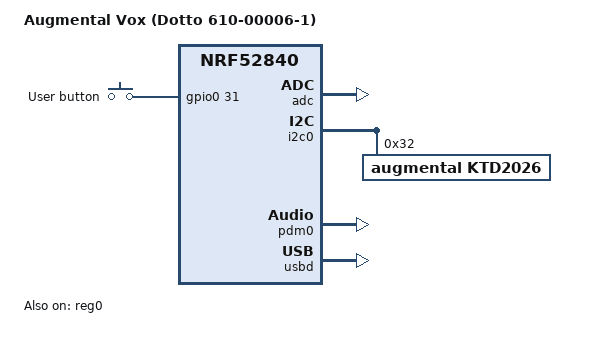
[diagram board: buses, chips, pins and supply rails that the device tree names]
/*
 * Augmental Vox — Dotto 610-00006-1 (version 9903), nRF52840.
 * Pin map per mouthpadv1 config_vox_dotto_610_6_1. Bring-up target: flashed flat
 * over J-Link (no product bootloader yet). Only the RGB LED driver (KTD2026 over
 * I2C) is wired up so far; the other Dotto peripherals (IMU, touch, barometer,
 * PDM mic, haptic, battery ADC) are documented below but not yet enabled.
 *
 * SPDX-License-Identifier: Apache-2.0
 */

/dts-v1/;
#include <nordic/nrf52840_qiaa.dtsi>
#include <nordic/nrf52840_partition.dtsi>
#include "vox_dotto_nrf52840-pinctrl.dtsi"
#include <zephyr/dt-bindings/input/input-event-codes.h>

/ {
	model = "Augmental Vox (Dotto 610-00006-1)";
	compatible = "augmental,vox-dotto";

	chosen {
		zephyr,sram = &sram0;
		zephyr,flash = &flash0;
		zephyr,code-partition = &slot0_partition;
	};

	buttons {
		compatible = "gpio-keys";

		/* Dotto button_1: P0.31, ACTIVE_HIGH */
		button0: button_0 {
			gpios = <&gpio0 31 GPIO_ACTIVE_HIGH>;
			label = "User button";
			zephyr,code = <INPUT_KEY_0>;
		};
	};

	aliases {
		sw0 = &button0;
		watchdog0 = &wdt0;
	};
};

&reg0 {
	status = "okay";
};

&reg1 {
	regulator-initial-mode = <NRF5X_REG_MODE_DCDC>;
};

&gpiote {
	status = "okay";
};

&gpio0 {
	status = "okay";
};

&gpio1 {
	status = "okay";
};

&adc {
	status = "okay";
};

/* KTD2026 RGB LED driver: SCL P0.8 / SDA P0.6.
 * The address the driver uses comes from CONFIG_KTD2026_I2C_ADDR: 0x32 for the
 * production Dotto part (default), 0x30 for the KTD2026 dev kit (build with
 * -DEXTRA_CONF_FILE=dev_kit.conf). The reg here is just the binding default.
 * Dotto channel map: red = CH3, green = CH2, blue = CH1. */
&i2c0 {
	compatible = "nordic,nrf-twi";
	status = "okay";
	pinctrl-0 = <&i2c0_default>;
	pinctrl-1 = <&i2c0_sleep>;
	pinctrl-names = "default", "sleep";

	ktd2026: ktd2026@32 {
		compatible = "augmental,ktd2026";
		reg = <0x32>;
	};
};

/* PDM microphone (Dotto): CLK P0.05 / DIN P0.26. Driven via the Zephyr DMIC
 * API (nrfx PDM) for the relay's own mic stream. */
&pdm0 {
	status = "okay";
	pinctrl-0 = <&pdm0_default>;
	pinctrl-names = "default";
	clock-source = "PCLK32M_HFXO";
};

zephyr_udc0: &usbd {
	compatible = "nordic,nrf-usbd";
	status = "okay";
};
